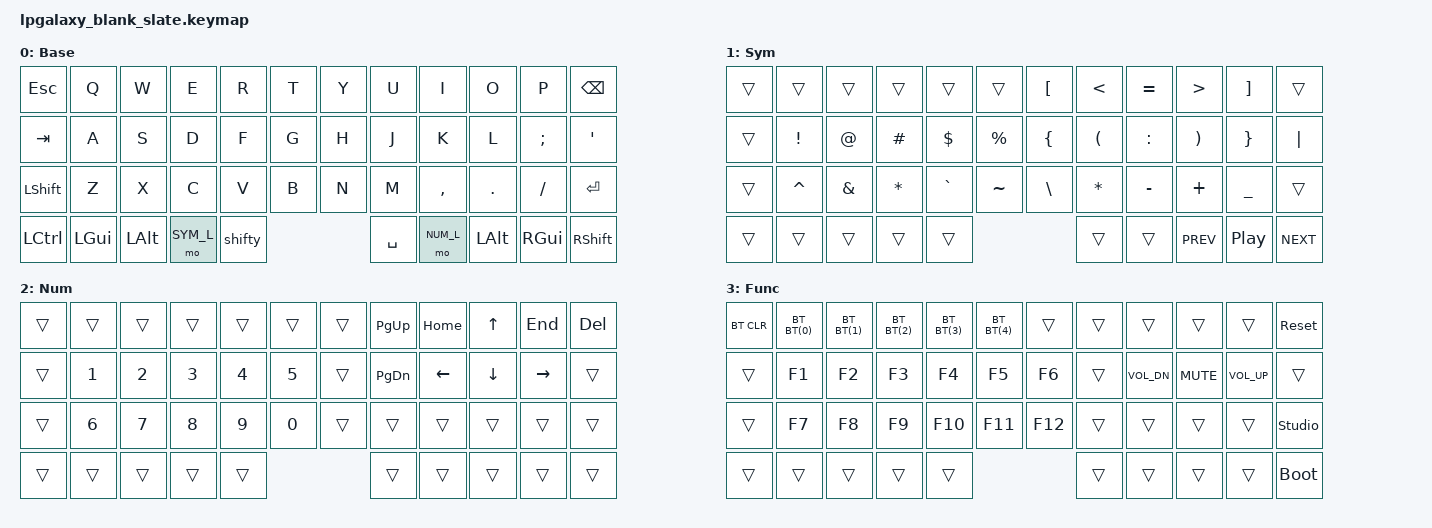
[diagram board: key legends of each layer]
/*
 * Copyright (c) 2022 Pete Johanson
 *
 * SPDX-License-Identifier: MIT
 */

#include <behaviors.dtsi>
#include <dt-bindings/zmk/keys.h>
#include <dt-bindings/zmk/bt.h>
#include <dt-bindings/zmk/outputs.h>

#define QWERTY_BASE 1

// #define TBLE_ORTHO   1
// #define TBLE_MIT     1
#define TBLE_DUAL_2U 1

#define SYM_L 1
#define NUM_L 2
#define FUNC_L 3

// Using layer taps on thumbs, having quick tap as well helps w/ repeating space/backspace
&lt { quick_tap_ms = <200>; };

#define BT(n) BT_SEL n

/ {
    chosen {
       zmk,physical-layout =
#ifdef TBLE_DUAL_2U
                       &layout_ortho_4x12_2x2u;
#elif defined(TBLE_MIT)
                       &layout_ortho_4x12_1x2u;
#else
                       &layout_ortho_4x12_all1u;
#endif
    };

    macros {
      ZMK_MACRO(
          thumbs_up,
          wait-ms = <1>;
          tap-ms = <5>;
          bindings = <&kp PLUS &kp COLON &kp PLUS &kp N1 &kp COLON &kp RET>;
      )
    };

    tap_dances {
        shifty: shift_caps_word {
                  compatible = "zmk,behavior-tap-dance";
                  label = "TD_SHIFTY";
                  #binding-cells = <0>;
                  tapping-term-ms = <150>;
                  bindings = <&kp LSHFT>, <&caps_word>;
        };
    };

// Conditional layer only when we have less thumb keys
#ifdef TBLE_DUAL_2U
    cond_layers {
        compatible = "zmk,conditional-layers";
        tri {
          if-layers = <NUM_L SYM_L>;
          then-layer = <FUNC_L>;
        };
    };
#endif

    keymap {
        compatible = "zmk,keymap";

        base_layer {
            label = "Base";
            bindings = <
              &kp ESC   &kp Q    &kp W    &kp E     &kp R      &kp T   &kp Y      &kp U      &kp I       &kp O      &kp P     &kp BKSP
              &kp TAB   &kp A    &kp S    &kp D     &kp F      &kp G   &kp H      &kp J      &kp K       &kp L      &kp SEMI  &kp QUOT
              &kp LSHFT &kp Z    &kp X    &kp C     &kp V      &kp B   &kp N      &kp M      &kp COMMA   &kp DOT    &kp FSLH  &kp RET
              &kp LCTRL &kp LGUI &kp LALT &mo SYM_L      &shifty          &kp SPACE          &mo NUM_L   &kp LALT   &kp RGUI  &kp RSHIFT
            >;
        };

        sym_layer {
            label = "Sym";
            bindings = <
              &trans    &trans       &trans    &trans    &trans    &trans       &kp LBKT      &kp LT     &kp EQUAL   &kp GT     &kp RBKT   &trans
              &trans    &kp EXCL     &kp AT    &kp HASH  &kp DLLR  &kp PRCNT    &kp LBRC      &kp LPAR   &kp COLON   &kp RPAR   &kp RBRC   &kp PIPE
              &trans    &kp CARET    &kp AMPS  &kp STAR  &kp GRAVE &kp TILDE    &kp BSLH      &kp STAR   &kp MINUS   &kp PLUS   &kp UNDER  &trans
              &trans    &trans       &trans    &trans          &trans                 &trans             &trans      &kp C_PREV &kp C_PP   &kp C_NEXT
            >;
        };

        num_layer {
            label = "Num";
            bindings = <
              &trans     &trans     &trans     &trans      &trans       &trans      &trans     &kp PG_UP  &kp HOME    &kp UP     &kp END    &kp DEL
              &trans     &kp N1     &kp N2     &kp N3      &kp N4       &kp N5      &trans     &kp PG_DN  &kp LEFT    &kp DOWN   &kp RIGHT  &trans
              &trans     &kp N6     &kp N7     &kp N8      &kp N9       &kp N0      &trans     &trans     &trans      &trans     &trans     &trans
              &trans     &trans     &trans     &trans              &trans                  &trans         &trans      &trans     &trans     &trans
            >;
        };

        func_layer {
            label = "Func";
            bindings = <
              &bt BT_CLR &bt BT(0)  &bt BT(1)  &bt BT(2) &bt BT(3) &bt BT(4)  &trans    &trans    &trans       &trans     &trans       &sys_reset
              &trans     &kp F1     &kp F2     &kp F3    &kp F4    &kp F5     &kp F6    &trans    &kp C_VOL_DN &kp C_MUTE &kp C_VOL_UP &trans
              &trans     &kp F7     &kp F8     &kp F9    &kp F10   &kp F11    &kp F12   &trans    &trans       &trans     &trans       &studio_unlock
              &trans     &trans      &trans      &trans         &trans              &trans        &trans       &trans     &trans       &bootloader
           >;
        };
    };
};
